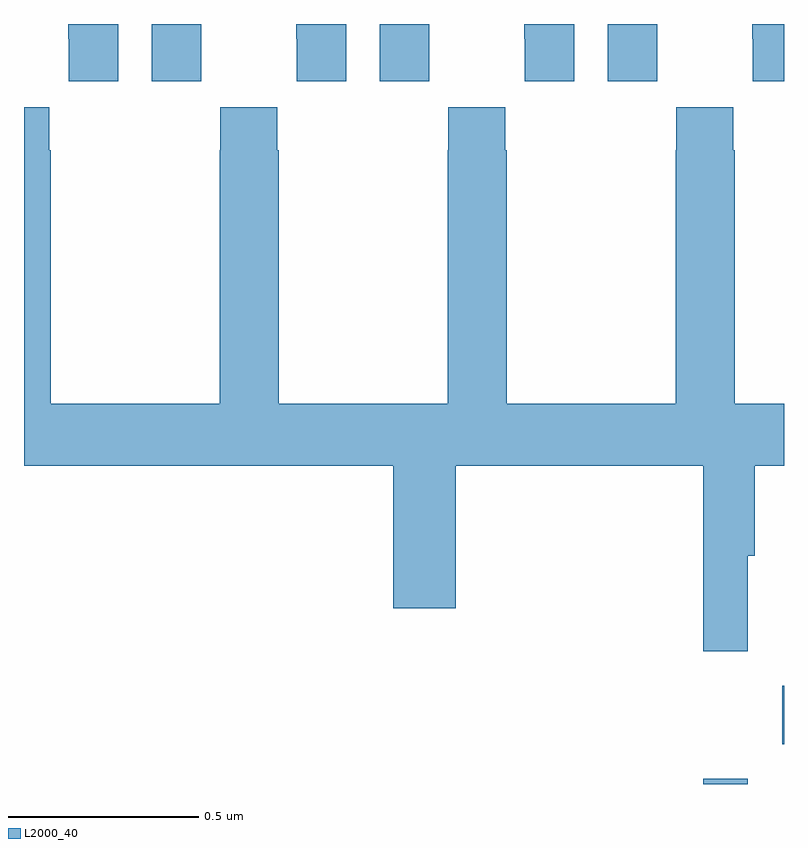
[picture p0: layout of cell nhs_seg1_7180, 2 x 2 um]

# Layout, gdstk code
import gdstk
lib = gdstk.Library(unit=1e-6, precision=1e-09)
def R(c, l, rs):  # rectangles x0, y0, x1, y1
    for r in rs: c.add(gdstk.rectangle(r[:2], r[2:], *l))
def P(c, l, *ps):  # polygons
    for p in ps: c.add(gdstk.Polygon(p, *l))
L2000_40 = (2000, 40)

nhs_seg1_7180 = lib.new_cell('nhs_seg1_7180')
R(nhs_seg1_7180, L2000_40, [(201.787,580.199,201.904,580.213), (201.996,580.304,202,580.457)])
P(nhs_seg1_7180, L2000_40, [(200.248,582.199),(200.117,582.199),(200.117,582.16),(200.118,582.16),(200.118,582.048),(200.248,582.048)],
  [(200.466,582.16),(200.467,582.16),(200.467,582.199),(200.336,582.199),(200.336,582.048),(200.466,582.048)],
  [(200.848,582.199),(200.717,582.199),(200.717,582.16),(200.718,582.16),(200.718,582.048),(200.848,582.048)],
  [(201.066,582.16),(201.067,582.16),(201.067,582.199),(200.936,582.199),(200.936,582.048),(201.066,582.048)],
  [(201.448,582.199),(201.317,582.199),(201.317,582.16),(201.318,582.16),(201.318,582.048),(201.448,582.048)],
  [(201.666,582.16),(201.667,582.16),(201.667,582.199),(201.536,582.199),(201.536,582.048),(201.666,582.048)],
  [(202,582.199),(201.917,582.199),(201.917,582.16),(201.918,582.16),(201.918,582.048),(202,582.048)],
  [(201.905,580.8),(201.923,580.8),(201.923,581.036),(202,581.036),(202,581.2),(201.87,581.2),(201.87,581.867),(201.867,581.867),(201.867,581.98),(201.717,581.98),(201.717,581.867),(201.715,581.867),(201.715,581.2),(201.27,581.2),(201.27,581.867),(201.267,581.867),(201.267,581.98),(201.117,581.98),(201.117,581.867),(201.115,581.867),(201.115,581.2),(200.67,581.2),(200.67,581.867),(200.667,581.867),(200.667,581.98),(200.517,581.98),(200.517,581.867),(200.515,581.867),(200.515,581.2),(200.07,581.2),(200.07,581.867),(200.067,581.867),(200.067,581.98),(200,581.98),(200,581.036),(200.972,581.036),(200.972,580.662),(201.136,580.662),(201.136,581.036),(201.787,581.036),(201.787,580.548),(201.905,580.548)])

lib.write_gds('nhs_seg1_7180.gds')
